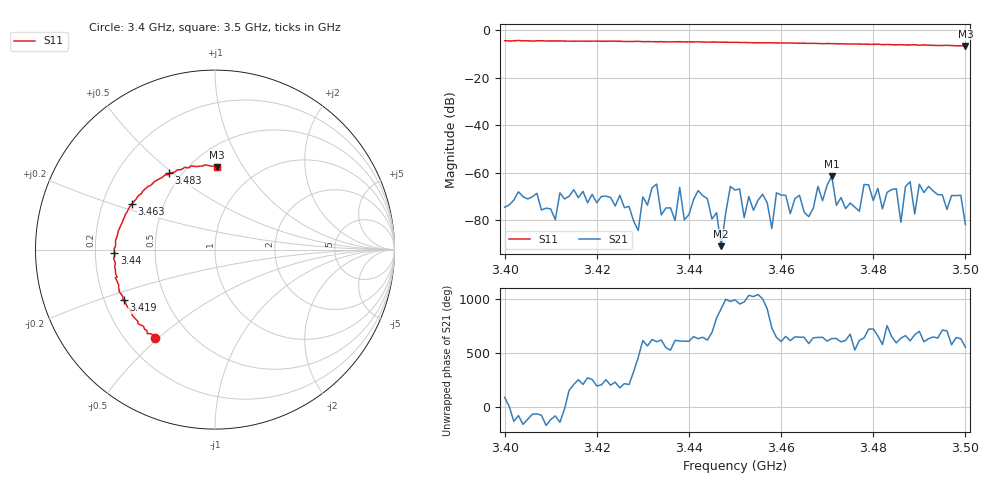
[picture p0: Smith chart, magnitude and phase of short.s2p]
!Created with skrf (http://scikit-rf.org).
# MHz S RI R 50.0
!freq ReS11 ImS11 ReS21 ImS21 ReS12 ImS12 ReS22 ImS22
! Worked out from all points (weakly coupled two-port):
!   101 points, 3.4 GHz to 3.5 GHz, reference 50 ohm
!   highest |S21| = -61.47 dB at 3.471 GHz (marker M1); lowest = -90.8 dB at 3.447 GHz (marker M2)
!   lowest |S11| = -6.7 dB at 3.5 GHz (marker M3), VSWR 2.70, Z = 33.1 + j38.7 ohm
!   |S11| at or under -10 dB: nowhere
!   S12 and S22 are empty: the file has one direction only
!   S11 on the Smith chart (normalised r, x): 3.4 GHz: 0.32, -0.49; 3.419 GHz: 0.28, -0.24; 3.44 GHz: 0.28, -0.02; 3.463 GHz: 0.33, +0.23; 3.483 GHz: 0.43, +0.48; 3.5 GHz: 0.66, +0.77
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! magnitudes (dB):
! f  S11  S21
! 3.4 GHz  -4.5  -74.5
! 3.417 GHz  -4.7  -67.8
! 3.419 GHz  -4.7  -69.0
! 3.429 GHz  -4.8  -84.2
! 3.433 GHz  -5.0  -64.8
! 3.434 GHz  -4.9  -77.7
! 3.438 GHz  -4.9  -66.2
! 3.44 GHz  -5.0  -77.6
! 3.447 GHz  -5.2  -90.8
! 3.45 GHz  -5.2  -67.2
! 3.452 GHz  -5.3  -78.9
! 3.463 GHz  -5.5  -70.9
! 3.467 GHz  -5.6  -74.9
! 3.471 GHz  -5.7  -61.5
! 3.474 GHz  -5.9  -75.1
! 3.483 GHz  -6.1  -68.2
! 3.484 GHz  -6.2  -67.0
! 3.486 GHz  -6.2  -80.8
! 3.488 GHz  -6.3  -63.8
! 3.489 GHz  -6.2  -77.3
! 3.49 GHz  -6.4  -64.8
! 3.5 GHz  -6.7  -81.7
